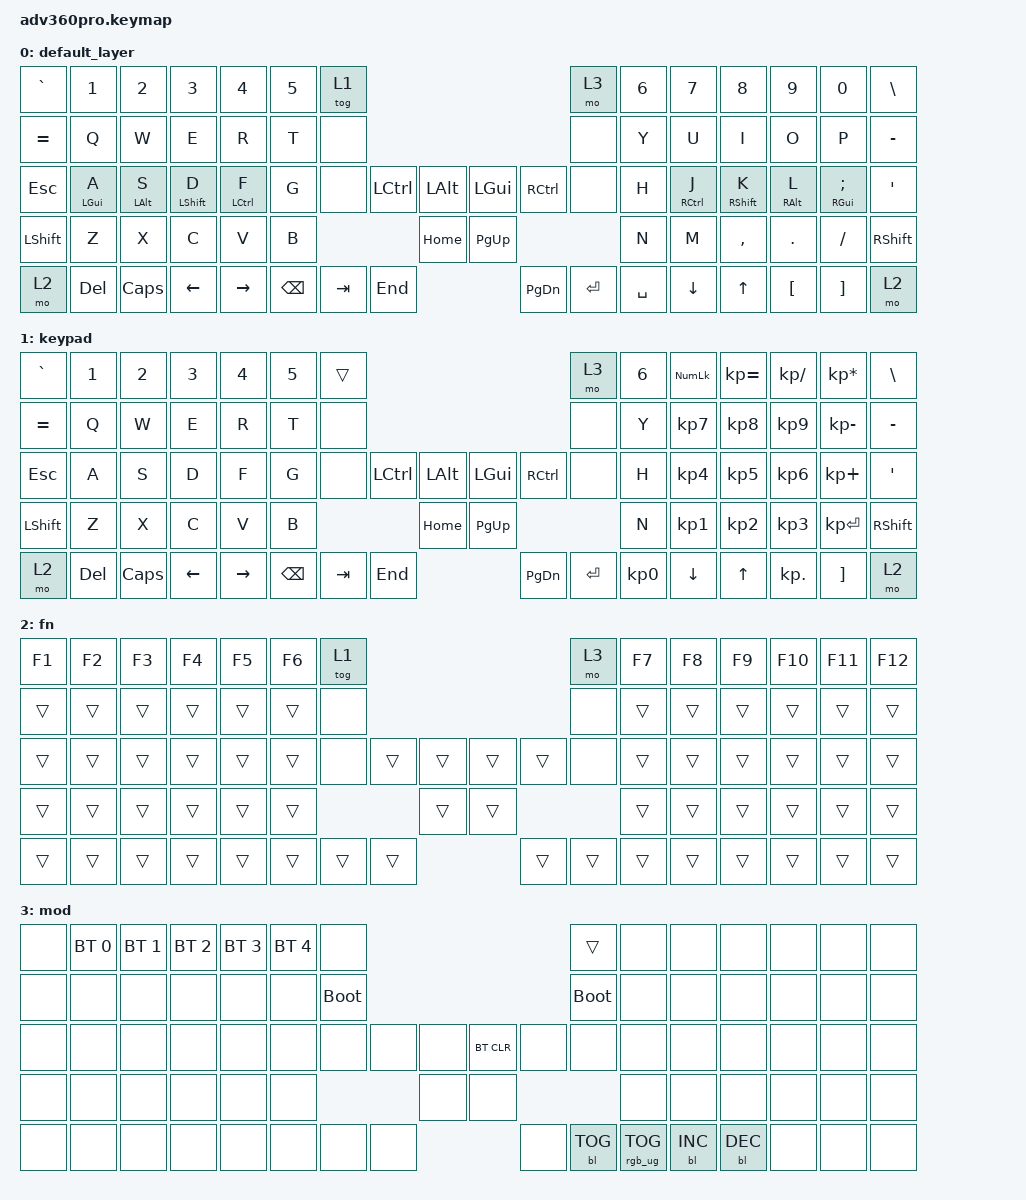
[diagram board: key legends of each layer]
#include <behaviors.dtsi>
#include <dt-bindings/zmk/keys.h>
#include <dt-bindings/zmk/bt.h>
#include <dt-bindings/zmk/rgb.h>
#include <dt-bindings/zmk/backlight.h>

/ {
    behaviors {

        ahm: alt_homerow_mods {
            compatible = "zmk,behavior-hold-tap";
            label = "ALT_HOMEROW_MODS";
            #binding-cells = <2>;
            tapping-term-ms = <200>;
            quick_tap_ms = <175>;
            flavor = "balanced";
            bindings = <&kp>, <&kp>;
            require-prior-idle-ms = <125>;
        };

        shm: shift_homerow_mods {
            compatible = "zmk,behavior-hold-tap";
            label = "SHIFT_HOMEROW_MODS";
            #binding-cells = <2>;
            tapping-term-ms = <175>;
            quick_tap_ms = <175>;
            flavor = "balanced";
            bindings = <&kp>, <&kp>;
        };

        chm: cntrl_homerow_mods {
            compatible = "zmk,behavior-hold-tap";
            label = "CNTRL_HOMEROW_MODS";
            #binding-cells = <2>;
            tapping-term-ms = <175>;
            quick_tap_ms = <175>;
            flavor = "balanced";
            bindings = <&kp>, <&kp>;
        };

        lghm: lgui_homerow_mods {
            compatible = "zmk,behavior-hold-tap";
            label = "LGUI_HOMEROW_MODS";
            #binding-cells = <2>;
            tapping-term-ms = <350>;
            quick_tap_ms = <175>;
            flavor = "tap-preferred";
            bindings = <&kp>, <&kp>;
        };

        rghm: rgui_homerow_mod {
            compatible = "zmk,behavior-hold-tap";
            label = "RGUI_HOMEROW_MOD";
            #binding-cells = <2>;
            tapping-term-ms = <200>;
            quick_tap_ms = <175>;
            flavor = "tap-preferred";
            bindings = <&kp>, <&kp>;
        };
    };

    keymap {
        compatible = "zmk,keymap";

        default_layer {
            bindings = <
                &kp GRAVE &kp N1       &kp N2      &kp N3       &kp N4       &kp N5 &tog 1                                                           &mo 3 &kp N6 &kp N7       &kp N8       &kp N9      &kp N0          &kp BSLH
                &kp EQUAL &kp Q        &kp W       &kp E        &kp R        &kp T  &none                                                            &none &kp Y  &kp U        &kp I        &kp O       &kp P           &kp MINUS
                &kp ESC   &lghm LGUI A &ahm LALT S &shm LSHFT D &chm LCTRL F &kp G  &none           &kp LCTRL &kp LALT &kp LGUI  &kp RCTRL           &none &kp H  &chm RCTRL J &shm RSHFT K &ahm RALT L &rghm RGUI SEMI &kp SQT
                &kp LSHFT &kp Z        &kp X       &kp C        &kp V        &kp B                            &kp HOME &kp PG_UP                           &kp N  &kp M        &kp COMMA    &kp DOT     &kp FSLH        &kp RSHFT
                &mo 2     &kp DEL      &kp CAPS    &kp LEFT     &kp RIGHT                  &kp BSPC &kp TAB   &kp END  &kp PG_DN &kp ENTER &kp SPACE              &kp DOWN     &kp UP       &kp LBKT    &kp RBKT        &mo 2
            >;
        };
        keypad {
            bindings = <
                &kp GRAVE &kp N1  &kp N2   &kp N3   &kp N4     &kp N5 &trans                                                           &mo 3 &kp N6 &kp KP_NUM &kp KP_EQUAL &kp KP_DIVIDE &kp KP_MULTIPLY &kp BSLH
                &kp EQUAL &kp Q   &kp W    &kp E    &kp R      &kp T  &none                                                            &none &kp Y  &kp KP_N7  &kp KP_N8    &kp KP_N9     &kp KP_MINUS    &kp MINUS
                &kp ESC   &kp A   &kp S    &kp D    &kp F      &kp G  &none           &kp LCTRL &kp LALT &kp LGUI  &kp RCTRL           &none &kp H  &kp KP_N4  &kp KP_N5    &kp KP_N6     &kp KP_PLUS     &kp SQT
                &kp LSHFT &kp Z   &kp X    &kp C    &kp V      &kp B                            &kp HOME &kp PG_UP                           &kp N  &kp KP_N1  &kp KP_N2    &kp KP_N3     &kp KP_ENTER    &kp RSHFT
                &mo 2     &kp DEL &kp CAPS &kp LEFT &kp RIGHT                &kp BSPC &kp TAB   &kp END  &kp PG_DN &kp ENTER &kp KP_N0              &kp DOWN   &kp UP       &kp KP_DOT    &kp RBKT        &mo 2
            >;
        };
        fn {
            bindings = <
                &kp F1 &kp F2 &kp F3 &kp F4 &kp F5 &kp F6 &tog 1                                           &mo 3 &kp F7 &kp F8 &kp F9 &kp F10 &kp F11 &kp F12
                &trans &trans &trans &trans &trans &trans  &none                                           &none &trans &trans &trans &trans  &trans  &trans
                &trans &trans &trans &trans &trans &trans  &none        &trans &trans &trans &trans        &none &trans &trans &trans &trans  &trans  &trans
                &trans &trans &trans &trans &trans &trans                      &trans &trans                     &trans &trans &trans &trans  &trans  &trans
                &trans &trans &trans &trans &trans               &trans &trans &trans &trans &trans &trans              &trans &trans &trans  &trans  &trans
            >;
        };
        mod {
            bindings = <
                &none &bt BT_SEL 0 &bt BT_SEL 1 &bt BT_SEL 2 &bt BT_SEL 3 &bt BT_SEL 4 &none                                                               &trans      &none &none      &none      &none &none &none
                &none &none        &none        &none        &none        &none        &bootloader                                                         &bootloader &none &none      &none      &none &none &none
                &none &none        &none        &none        &none        &none        &none             &none &none &bt BT_CLR &none                      &none       &none &none      &none      &none &none &none
                &none &none        &none        &none        &none        &none                                &none &none                                             &none &none      &none      &none &none &none
                &none &none        &none        &none        &none                                 &none &none &none &none      &bl BL_TOG &rgb_ug RGB_TOG                   &bl BL_INC &bl BL_DEC &none &none &none
            >;
        };
    };
};
